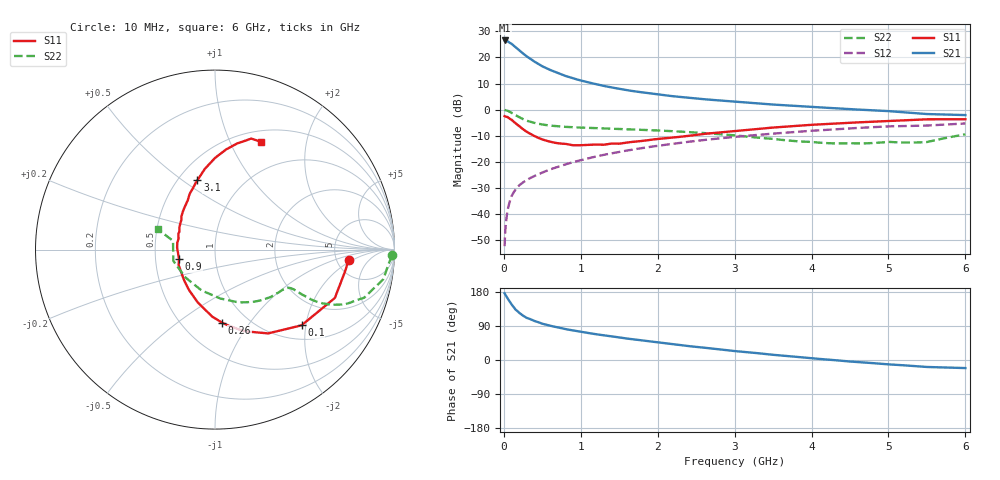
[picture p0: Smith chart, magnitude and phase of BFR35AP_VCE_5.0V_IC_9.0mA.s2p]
! Infineon Technologies  Discrete & RF Semiconductors
! BFR35AP
! VCE =  5.0 V,  IC =  9.0 mA
! Common Emitter S-Parameters:  Nov 2015
# GHz  S  MA  R  50
!  f  S11  S21  S12  S22
! GHz  MAG  ANG  MAG  ANG  MAG  ANG  MAG  ANG
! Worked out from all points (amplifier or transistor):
!   210 points, 10 MHz to 6 GHz, reference 50 ohm
!   highest |S21| = 26.5 dB at 10 MHz (marker M1)
!   |S21| within 3 dB of that: start of sweep to 169.7 MHz
!   unconditionally stable (mu >= 1): 638 MHz to 3.136 GHz
!   at 185 MHz: K = 0.52, MSG = 26.3 dB, |S12| = -29.5 dB
!   at 1.52 GHz: K = 1.10, MAG = 10.0 dB, |S12| = -16.1 dB
!   at 6 GHz: K = 0.93, MSG = 1.6 dB, |S12| = -5.3 dB
!   S11 on the Smith chart (normalised r, x): 10 MHz: 6.44, -1.66; 100 MHz: 1.32, -1.89; 260 MHz: 0.77, -0.75; 900 MHz: 0.66, -0.07; 3.1 GHz: 0.62, +0.57; 6 GHz: 0.63, +1.31
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0.01  0.7461 -4.4  21.19 176.0  0.0024 87.3  0.9876 -1.9
0.02  0.7364 -8.9  21.08 172.1  0.005 88.2  0.9738 -4.1
0.05  0.7201 -22.0  20.38 161.9  0.012 78.5  0.952 -10.0
0.1  0.6406 -41.2  18.33 146.6  0.0218 71.4  0.8741 -17.8
0.15  0.553 -57.6  15.91 133.5  0.0291 66.2  0.7857 -22.9
0.2  0.4826 -70.4  13.72 124.4  0.0353 63.5  0.7142 -25.5
0.24  0.4308 -79.8  12.24 118.4  0.0391 62.1  0.6674 -26.6
0.26  0.4099 -84.3  11.59 115.7  0.0411 61.8  0.6465 -27.0
0.3  0.3742 -92.3  10.42 110.9  0.0449 61.8  0.6099 -27.4
0.4  0.3099 -108.0  8.272 102.8  0.0534 62.4  0.552 -27.3
0.5  0.2679 -122.7  6.767 95.7  0.0619 62.7  0.5166 -27.1
0.6  0.2425 -135.2  5.781 90.4  0.071 63.6  0.4937 -26.8
0.7  0.2265 -146.8  5.031 85.7  0.0794 64.4  0.4786 -26.9
0.9  0.2071 -165.4  3.97 77.8  0.0983 64.3  0.4578 -27.8
1.02  0.208 -176.7  3.553 73.8  0.109 64.3  0.4507 -28.7
1.4  0.2226 156.7  2.659 62.3  0.1449 62.9  0.4301 -33.1
1.68  0.2407 143.8  2.261 54.5  0.1714 60.7  0.4151 -37.2
2.02  0.2754 131.1  1.939 46.0  0.2041 58.0  0.397 -43.1
3.1  0.399 104.2  1.381 21.8  0.3087 46.5  0.3096 -69.3
4.1  0.5199 88.7  1.106 2.9  0.4008 34.3  0.2325 -113.5
5.1  0.6124 76.9  0.911 -12.7  0.4793 20.4  0.2361 -170.1
6  0.6525 66.9  0.785 -21.3  0.5417 10.2  0.3355 160.5
